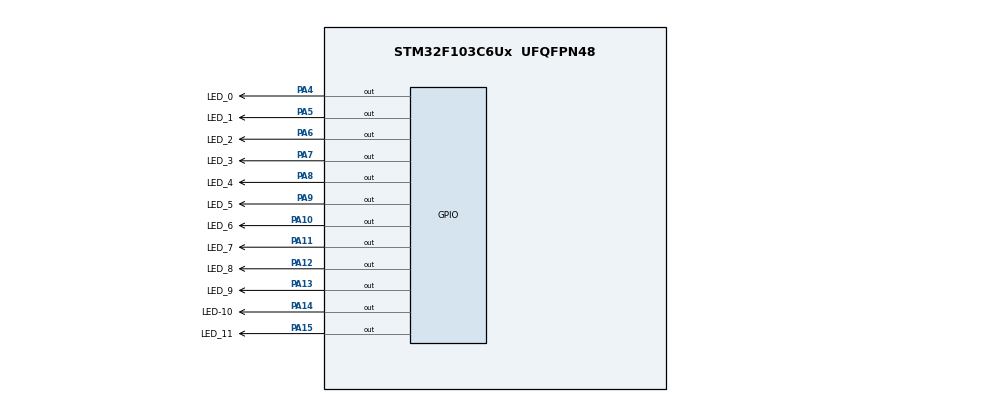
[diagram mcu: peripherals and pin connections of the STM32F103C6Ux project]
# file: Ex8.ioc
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Mcu.Family=STM32F1
Mcu.Name=STM32F103C6Ux
Mcu.Package=UFQFPN48
NVIC.PriorityGroup=NVIC_PRIORITYGROUP_4
PA10.GPIO_Label=LED_6
PA10.Signal=GPIO_Output
PA11.GPIO_Label=LED_7
PA11.Signal=GPIO_Output
PA12.GPIO_Label=LED_8
PA12.Signal=GPIO_Output
PA13.GPIO_Label=LED_9
PA13.Signal=GPIO_Output
PA14.GPIO_Label=LED-10
PA14.Signal=GPIO_Output
PA15.GPIO_Label=LED_11
PA15.Signal=GPIO_Output
PA4.GPIO_Label=LED_0
PA4.Signal=GPIO_Output
PA5.GPIO_Label=LED_1
PA5.Signal=GPIO_Output
PA6.GPIO_Label=LED_2
PA6.Signal=GPIO_Output
PA7.GPIO_Label=LED_3
PA7.Signal=GPIO_Output
PA8.GPIO_Label=LED_4
PA8.Signal=GPIO_Output
PA9.GPIO_Label=LED_5
PA9.Signal=GPIO_Output
ProjectManager.HeapSize=0x200
ProjectManager.StackSize=0x400
ProjectManager.TargetToolchain=STM32CubeIDE
RCC.APB1Freq_Value=8000000
RCC.APB2Freq_Value=8000000
VP_SYS_VS_ND.Mode=No_Debug
board=custom

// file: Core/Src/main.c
/* USER CODE BEGIN Header */
/**
  ******************************************************************************
  * @file           : main.c
  * @brief          : Main program body
  ******************************************************************************
  * @attention
  *
  * <h2><center>&copy; Copyright (c) 2023 STMicroelectronics.
  * All rights reserved.</center></h2>
  *
  * This software component is licensed by ST under BSD 3-Clause license,
  * the "License"; You may not use this file except in compliance with the
  * License. You may obtain a copy of the License at:
  *                        opensource.org/licenses/BSD-3-Clause
  *
  ******************************************************************************
  */
/* USER CODE END Header */
#include "main.h"

void SystemClock_Config(void);
static void MX_GPIO_Init(void);

int main(void)
{

  /* MCU Configuration--------------------------------------------------------*/

  /* Reset of all peripherals, Initializes the Flash interface and the Systick. */
  HAL_Init();

  /* Configure the system clock */
  SystemClock_Config();

  /* Initialize all configured peripherals */
  MX_GPIO_Init();

  /* Infinite loop */
  /* USER CODE BEGIN WHILE */
  void clearAllClock(){
	  HAL_GPIO_WritePin(LED_0_GPIO_Port, LED_0_Pin, RESET);
	  HAL_GPIO_WritePin(LED_1_GPIO_Port, LED_1_Pin, RESET);
	  HAL_GPIO_WritePin(LED_2_GPIO_Port, LED_2_Pin, RESET);
	  HAL_GPIO_WritePin(LED_3_GPIO_Port, LED_3_Pin, RESET);
	  HAL_GPIO_WritePin(LED_4_GPIO_Port, LED_4_Pin, RESET);
	  HAL_GPIO_WritePin(LED_5_GPIO_Port, LED_5_Pin, RESET);
	  HAL_GPIO_WritePin(LED_6_GPIO_Port, LED_6_Pin, RESET);
	  HAL_GPIO_WritePin(LED_7_GPIO_Port, LED_7_Pin, RESET);
	  HAL_GPIO_WritePin(LED_8_GPIO_Port, LED_8_Pin, RESET);
	  HAL_GPIO_WritePin(LED_9_GPIO_Port, LED_9_Pin, RESET);
	  HAL_GPIO_WritePin(LED_10_GPIO_Port, LED_10_Pin, RESET);
	  HAL_GPIO_WritePin(LED_11_GPIO_Port, LED_11_Pin, RESET);
  }
  void setNumberOnClockwithpinState(int num, int pinState){
	  switch (num){
	  case 0:
		  HAL_GPIO_WritePin(LED_0_GPIO_Port, LED_0_Pin, pinState);
		  break;
	  case 1:
		  HAL_GPIO_WritePin(LED_1_GPIO_Port, LED_1_Pin, pinState);
		  break;
	  case 2:
		  HAL_GPIO_WritePin(LED_2_GPIO_Port, LED_2_Pin, pinState);
		  break;
	  case 3:
		  HAL_GPIO_WritePin(LED_3_GPIO_Port, LED_3_Pin, pinState);
		  break;
	  case 4:
		  HAL_GPIO_WritePin(LED_4_GPIO_Port, LED_4_Pin, pinState);
		  break;
	  case 5:
		  HAL_GPIO_WritePin(LED_5_GPIO_Port, LED_5_Pin, pinState);
		  break;
	  case 6:
		  HAL_GPIO_WritePin(LED_6_GPIO_Port, LED_6_Pin, pinState);
		  break;
	  case 7:
		  HAL_GPIO_WritePin(LED_7_GPIO_Port, LED_7_Pin, pinState);
		  break;
	  case 8:
		  HAL_GPIO_WritePin(LED_8_GPIO_Port, LED_8_Pin, pinState);
		  break;
	  case 9:
		  HAL_GPIO_WritePin(LED_9_GPIO_Port, LED_9_Pin, pinState);
		  break;
	  case 10:
		  HAL_GPIO_WritePin(LED_10_GPIO_Port, LED_10_Pin, pinState);
		  break;
	  case 11:
		  HAL_GPIO_WritePin(LED_11_GPIO_Port, LED_11_Pin, pinState);
		  break;
	  default:
		  clearAllClock();
	  }
  }
  void setNumberOnClock(int num){
	  setNumberOnClockwithpinState(num, 1);
  }
  int counter = 11;
  while (1)
  {
	  clearAllClock();
	  switch (counter){
	  case 0:
		  setNumberOnClock(counter);
		  counter = 11;
		  break;
	  case 1:
		  setNumberOnClock(counter);
		  counter--;
		  break;
	  case 2:
		  setNumberOnClock(counter);
		  counter--;
		  break;
	  case 3:
		  setNumberOnClock(counter);
		  counter--;
		  break;
	  case 4:
		  setNumberOnClock(counter);
		  counter--;
		  break;
	  case 5:
		  setNumberOnClock(counter);
		  counter--;
		  break;
	  case 6:
		  setNumberOnClock(counter);
		  counter--;
		  break;
	  case 7:
		  setNumberOnClock(counter);
		  counter--;
		  break;
	  case 8:
		  setNumberOnClock(counter);
		  counter--;
		  break;
	  case 9:
		  setNumberOnClock(counter);
		  counter--;
		  break;
	  case 10:
		  setNumberOnClock(counter);
		  counter--;
		  break;
	  case 11:
		  setNumberOnClock(counter);
		  counter--;
		  break;
	  default:
		  clearAllClock();
		  break;
	  }
	  HAL_Delay(1000);
    /* USER CODE END WHILE */

  }
}

void SystemClock_Config(void)
{
  RCC_OscInitTypeDef RCC_OscInitStruct = {0};
  RCC_ClkInitTypeDef RCC_ClkInitStruct = {0};

  /** Initializes the RCC Oscillators according to the specified parameters
  * in the RCC_OscInitTypeDef structure.
  */
  RCC_OscInitStruct.OscillatorType = RCC_OSCILLATORTYPE_HSI;
  RCC_OscInitStruct.HSIState = RCC_HSI_ON;
  RCC_OscInitStruct.HSICalibrationValue = RCC_HSICALIBRATION_DEFAULT;
  RCC_OscInitStruct.PLL.PLLState = RCC_PLL_NONE;
  if (HAL_RCC_OscConfig(&RCC_OscInitStruct) != HAL_OK)
  {
    Error_Handler();
  }
  /** Initializes the CPU, AHB and APB buses clocks
  */
  RCC_ClkInitStruct.ClockType = RCC_CLOCKTYPE_HCLK|RCC_CLOCKTYPE_SYSCLK
                              |RCC_CLOCKTYPE_PCLK1|RCC_CLOCKTYPE_PCLK2;
  RCC_ClkInitStruct.SYSCLKSource = RCC_SYSCLKSOURCE_HSI;
  RCC_ClkInitStruct.AHBCLKDivider = RCC_SYSCLK_DIV1;
  RCC_ClkInitStruct.APB1CLKDivider = RCC_HCLK_DIV1;
  RCC_ClkInitStruct.APB2CLKDivider = RCC_HCLK_DIV1;

  if (HAL_RCC_ClockConfig(&RCC_ClkInitStruct, FLASH_LATENCY_0) != HAL_OK)
  {
    Error_Handler();
  }
}

static void MX_GPIO_Init(void)
{
  GPIO_InitTypeDef GPIO_InitStruct = {0};

  /* GPIO Ports Clock Enable */
  __HAL_RCC_GPIOA_CLK_ENABLE();

  /*Configure GPIO pin Output Level */
  HAL_GPIO_WritePin(GPIOA, LED_0_Pin|LED_1_Pin|LED_2_Pin|LED_3_Pin
                          |LED_4_Pin|LED_5_Pin|LED_6_Pin|LED_7_Pin
                          |LED_8_Pin|LED_9_Pin|LED_10_Pin|LED_11_Pin, GPIO_PIN_RESET);

  /*Configure GPIO pins : LED_0_Pin LED_1_Pin LED_2_Pin LED_3_Pin
                           LED_4_Pin LED_5_Pin LED_6_Pin LED_7_Pin
                           LED_8_Pin LED_9_Pin LED_10_Pin LED_11_Pin */
  GPIO_InitStruct.Pin = LED_0_Pin|LED_1_Pin|LED_2_Pin|LED_3_Pin
                          |LED_4_Pin|LED_5_Pin|LED_6_Pin|LED_7_Pin
                          |LED_8_Pin|LED_9_Pin|LED_10_Pin|LED_11_Pin;
  GPIO_InitStruct.Mode = GPIO_MODE_OUTPUT_PP;
  GPIO_InitStruct.Pull = GPIO_NOPULL;
  GPIO_InitStruct.Speed = GPIO_SPEED_FREQ_LOW;
  HAL_GPIO_Init(GPIOA, &GPIO_InitStruct);

}

void Error_Handler(void)
{
  __disable_irq();
  while (1)
  {
  }
}

/************************ (C) COPYRIGHT STMicroelectronics *****END OF FILE****/
